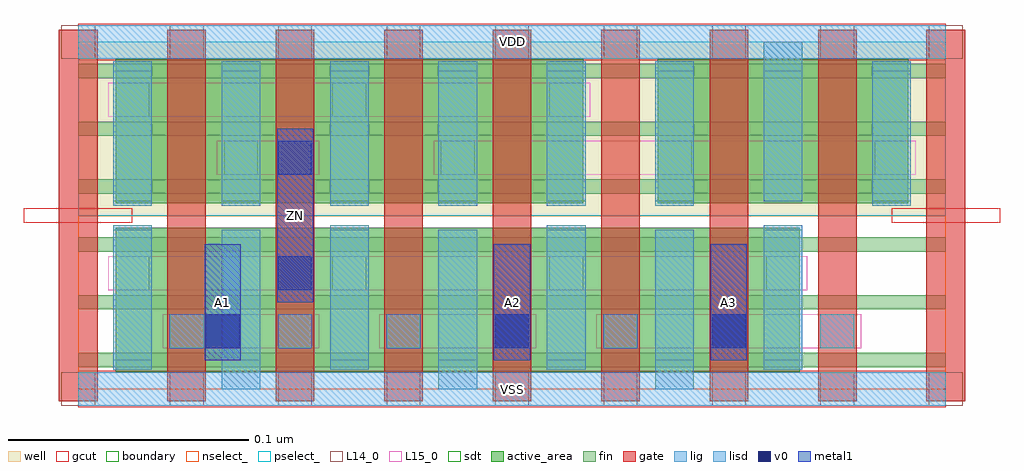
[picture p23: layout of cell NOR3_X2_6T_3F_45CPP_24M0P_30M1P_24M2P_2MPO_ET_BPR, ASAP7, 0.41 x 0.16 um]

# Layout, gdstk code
import gdstk
lib = gdstk.Library(unit=1e-6, precision=2.5e-10)
def R(c, l, rs):  # rectangles x0, y0, x1, y1
    for r in rs: c.add(gdstk.rectangle(r[:2], r[2:], *l))
def A(c, l, x, y, w, h, nx, ny, dx, dy):  # array of equal rectangles
    R(c, l, [(x+i*dx, y+j*dy, x+i*dx+w, y+j*dy+h) for i in range(nx) for j in range(ny)])
well = (1, 0)
fin = (2, 0)
gate = (7, 0)
gcut = (10, 0)
active_area = (11, 0)
nselect_ = (12, 0)
pselect_ = (13, 0)
L14_0 = (14, 0)
L15_0 = (15, 0)
lig = (16, 0)
lisd = (17, 0)
v0 = (18, 0)
metal1 = (19, 0)
sdt = (88, 0)
boundary = (100, 0)

nor3_x2_6t_3f_45cpp_24m0 = lib.new_cell('NOR3_X2_6T_3F_45CPP_24M0P_30M1P_24M2P_2MPO_ET_BPR')
R(nor3_x2_6t_3f_45cpp_24m0, well, [(0,0.072,0.36,0.144)])
A(nor3_x2_6t_3f_45cpp_24m0, fin, 0, 0.009, 0.36, 0.006, 1, 6, 0, 0.024)
A(nor3_x2_6t_3f_45cpp_24m0, gate, -0.008, -0.005, 0.016, 0.154, 9, 1, 0.045, 0)
R(nor3_x2_6t_3f_45cpp_24m0, gcut, [(0,-0.0075,0.36,0.0075), (-0.0225,0.069,0.0225,0.075), (0.3375,0.069,0.3825,0.075), (0,0.1365,0.36,0.1515)])
A(nor3_x2_6t_3f_45cpp_24m0, active_area, 0.0155, 0.007, 0.104, 0.06, 3, 1, 0.09, 0)
R(nor3_x2_6t_3f_45cpp_24m0, active_area, [(0.0155,0.077,0.1195,0.137), (0.1055,0.077,0.2095,0.137), (0.2405,0.077,0.3445,0.137)])
R(nor3_x2_6t_3f_45cpp_24m0, nselect_, [(0,0,0.36,0.072)])
R(nor3_x2_6t_3f_45cpp_24m0, pselect_, [(0,0.072,0.36,0.144)])
A(nor3_x2_6t_3f_45cpp_24m0, L14_0, -0.007, -0.007, 0.014, 0.014, 9, 2, 0.045, 0.144)
A(nor3_x2_6t_3f_45cpp_24m0, L14_0, 0.038, 0.017, 0.014, 0.014, 7, 1, 0.045, 0)
A(nor3_x2_6t_3f_45cpp_24m0, L14_0, 0.0155, 0.041, 0.014, 0.014, 4, 1, 0.09, 0)
A(nor3_x2_6t_3f_45cpp_24m0, L14_0, 0.0605, 0.089, 0.014, 0.014, 4, 1, 0.09, 0)
A(nor3_x2_6t_3f_45cpp_24m0, L14_0, 0.0155, 0.113, 0.014, 0.014, 3, 1, 0.09, 0)
R(nor3_x2_6t_3f_45cpp_24m0, L15_0, [(0,-0.007,0.36,0.007), (0.035,0.017,0.1,0.031), (0.125,0.017,0.19,0.031), (0.215,0.017,0.325,0.031), (0.0125,0.041,0.3025,0.055), (0.0575,0.089,0.1,0.103), (0.1475,0.089,0.3475,0.103), (0.0125,0.113,0.2125,0.127), (0,0.137,0.36,0.151)])
A(nor3_x2_6t_3f_45cpp_24m0, lig, 0.038, 0.017, 0.014, 0.014, 7, 1, 0.045, 0)
R(nor3_x2_6t_3f_45cpp_24m0, lig, [(0,-0.007,0.36,0.007), (0,0.137,0.36,0.151)])
A(nor3_x2_6t_3f_45cpp_24m0, lisd, 0.0595, 0, 0.016, 0.066, 3, 1, 0.09, 0)
A(nor3_x2_6t_3f_45cpp_24m0, lisd, 0.0145, 0.008, 0.016, 0.06, 4, 1, 0.09, 0)
A(nor3_x2_6t_3f_45cpp_24m0, lisd, 0.0145, 0.076, 0.016, 0.06, 6, 1, 0.045, 0)
R(nor3_x2_6t_3f_45cpp_24m0, lisd, [(0.3295,0.076,0.3455,0.136), (0.2845,0.078,0.3005,0.144)])
R(nor3_x2_6t_3f_45cpp_24m0, v0, [(0.053,0.017,0.067,0.031), (0.173,0.017,0.187,0.031), (0.263,0.017,0.277,0.031), (0.083,0.041,0.097,0.055), (0.083,0.089,0.097,0.103)])
R(nor3_x2_6t_3f_45cpp_24m0, metal1, [(0.0525,0.012,0.0675,0.06), (0.1725,0.012,0.1875,0.06), (0.2625,0.012,0.2775,0.06), (0.0825,0.036,0.0975,0.108)])
A(nor3_x2_6t_3f_45cpp_24m0, sdt, 0.0145, 0.012, 0.016, 0.054, 7, 1, 0.045, 0)
A(nor3_x2_6t_3f_45cpp_24m0, sdt, 0.0145, 0.078, 0.016, 0.054, 8, 1, 0.045, 0)
R(nor3_x2_6t_3f_45cpp_24m0, boundary, [(0,0,0.36,0.144)])
nor3_x2_6t_3f_45cpp_24m0.add(gdstk.Label('A3', (0.27,0.036), layer=19, texttype=251))
nor3_x2_6t_3f_45cpp_24m0.add(gdstk.Label('A2', (0.18,0.036), layer=19, texttype=251))
nor3_x2_6t_3f_45cpp_24m0.add(gdstk.Label('A1', (0.06,0.036), layer=19, texttype=251))
nor3_x2_6t_3f_45cpp_24m0.add(gdstk.Label('ZN', (0.09,0.072), layer=19, texttype=251))
nor3_x2_6t_3f_45cpp_24m0.add(gdstk.Label('VDD', (0.18,0.144), layer=15, texttype=251))
nor3_x2_6t_3f_45cpp_24m0.add(gdstk.Label('VSS', (0.18,0), layer=15, texttype=251))
nor3_x2_6t_3f_45cpp_24m0.add(gdstk.Label('VDD', (0.18,0.144), layer=1, texttype=251))
nor3_x2_6t_3f_45cpp_24m0.add(gdstk.Label('VSS', (0.18,0), layer=3, texttype=251))

lib.write_gds('NOR3_X2_6T_3F_45CPP_24M0P_30M1P_24M2P_2MPO_ET_BPR.gds')
